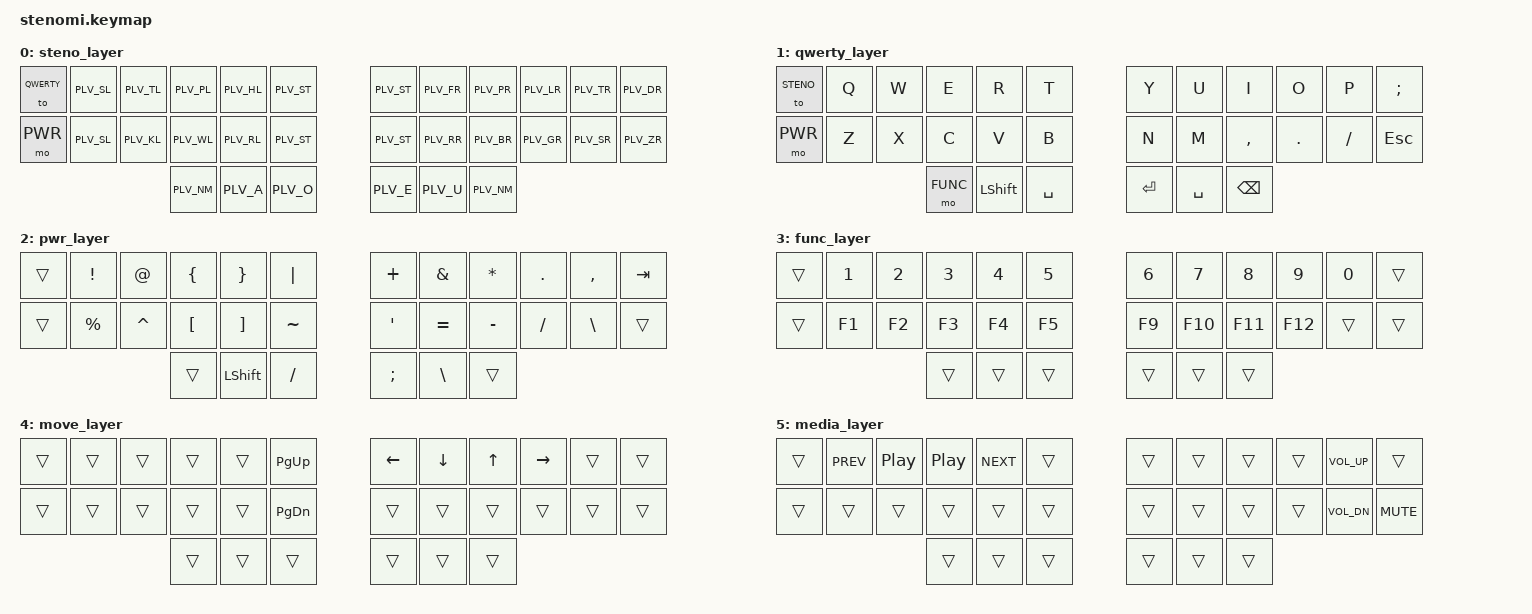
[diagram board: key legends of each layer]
/*
 * Copyright (c) 2020 The ZMK Contributors
 * SPDX-License-Identifier: MIT
 * 
 * Converted from QMK Georgi layout to ZMK
 * This layout replicates the chord-based behavior using combos
 */

#include <behaviors.dtsi>
#include <dt-bindings/zmk/keys.h>
#include <dt-bindings/zmk/bt.h>
#include <dt-bindings/zmk/outputs.h>

#define STENO 0
#define QWERTY 1
#define PWR 2
#define FUNC 3
#define MOVE 4
#define MEDIA 5

/ {
    behaviors {
        // Hold-tap for modifier keys
        hm: homerow_mods {
            compatible = "zmk,behavior-hold-tap";
            label = "HOMEROW_MODS";
            #binding-cells = <2>;
            tapping-term-ms = <200>;
            quick-tap-ms = <0>;
            flavor = "tap-preferred";
            bindings = <&kp>, <&kp>;
        };
    };

    keymap {
        compatible = "zmk,keymap";

        // Layer 0: Steno (Plover)
        steno_layer {
            bindings = <
                &to QWERTY  &kp PLV_SL  &kp PLV_TL  &kp PLV_PL  &kp PLV_HL  &kp PLV_ST    &kp PLV_ST  &kp PLV_FR  &kp PLV_PR  &kp PLV_LR  &kp PLV_TR  &kp PLV_DR
                &mo PWR     &kp PLV_SL  &kp PLV_KL  &kp PLV_WL  &kp PLV_RL  &kp PLV_ST    &kp PLV_ST  &kp PLV_RR  &kp PLV_BR  &kp PLV_GR  &kp PLV_SR  &kp PLV_ZR
                                                    &kp PLV_NM  &kp PLV_A   &kp PLV_O     &kp PLV_E   &kp PLV_U   &kp PLV_NM
            >;
        };

        // Layer 1: QWERTY Base
        qwerty_layer {
            bindings = <
                &to STENO  &kp Q  &kp W  &kp E  &kp R  &kp T      &kp Y  &kp U     &kp I      &kp O    &kp P     &kp SEMI
                &mo PWR    &kp Z  &kp X  &kp C  &kp V  &kp B      &kp N  &kp M     &kp COMMA  &kp DOT  &kp FSLH  &kp ESC
                                         &mo FUNC &kp LSHIFT  &kp SPACE    &kp ENTER  &kp SPACE  &kp BSPC
            >;
        };

        // Layer 2: PWR (Symbol Layer - activated by holding PWR key)
        pwr_layer {
            bindings = <
                &trans  &kp EXCL   &kp AT     &kp LBRC  &kp RBRC  &kp PIPE     &kp PLUS   &kp AMPS   &kp STAR   &kp DOT   &kp COMMA  &kp TAB
                &trans  &kp PRCNT  &kp CARET  &kp LBKT  &kp RBKT  &kp TILDE    &kp SQT    &kp EQUAL  &kp MINUS  &kp FSLH  &kp BSLH   &trans
                                              &trans    &kp LSHIFT  &kp FSLH   &kp SEMI   &kp BSLH   &trans
            >;
        };

        // Layer 3: Function Layer (accessed via thumb combo)
        func_layer {
            bindings = <
                &trans  &kp N1  &kp N2   &kp N3   &kp N4   &kp N5      &kp N6   &kp N7   &kp N8   &kp N9   &kp N0  &trans
                &trans  &kp F1  &kp F2   &kp F3   &kp F4   &kp F5      &kp F9   &kp F10  &kp F11  &kp F12  &trans  &trans
                                         &trans   &trans   &trans      &trans   &trans   &trans
            >;
        };

        // Layer 4: Movement Layer
        move_layer {
            bindings = <
                &trans  &trans  &trans  &trans  &trans  &kp PG_UP    &kp LEFT  &kp DOWN  &kp UP  &kp RIGHT  &trans  &trans
                &trans  &trans  &trans  &trans  &trans  &kp PG_DN    &trans    &trans    &trans  &trans     &trans  &trans
                                        &trans  &trans  &trans       &trans    &trans    &trans
            >;
        };

        // Layer 5: Media Layer
        media_layer {
            bindings = <
                &trans  &kp C_PREV  &kp C_PP  &kp C_PP  &kp C_NEXT  &trans    &trans  &trans  &trans  &trans  &kp C_VOL_UP  &trans
                &trans  &trans      &trans    &trans    &trans      &trans    &trans  &trans  &trans  &trans  &kp C_VOL_DN  &kp C_MUTE
                                              &trans    &trans      &trans    &trans  &trans  &trans
            >;
        };
    };

    combos {
        compatible = "zmk,combos";

        // === THUMB COMBOS (QWERTY layer) ===
        
        // LA + LO = LALT
        combo_lalt {
            timeout-ms = <50>;
            layers = <QWERTY>;
            key-positions = <25 26>;
            bindings = <&kp LALT>;
        };

        // LO + RE = LCTRL
        combo_lctrl {
            timeout-ms = <50>;
            layers = <QWERTY>;
            key-positions = <26 27>;
            bindings = <&kp LCTRL>;
        };

        // LA + LO + RE + RU = CAPS
        combo_caps {
            timeout-ms = <50>;
            layers = <QWERTY>;
            key-positions = <25 26 27 28>;
            bindings = <&kp CAPS>;
        };

        // LA + RU = ESC
        combo_esc {
            timeout-ms = <50>;
            layers = <QWERTY>;
            key-positions = <25 28>;
            bindings = <&kp ESC>;
        };

        // RE + RU = BSPC
        combo_bspc {
            timeout-ms = <50>;
            layers = <QWERTY>;
            key-positions = <27 28>;
            bindings = <&kp BSPC>;
        };

        // RU + RNO = TAB
        combo_tab {
            timeout-ms = <50>;
            layers = <QWERTY>;
            key-positions = <28 29>;
            bindings = <&kp TAB>;
        };

        // === LETTER COMBOS ===

        // Two-key letter combinations
        combo_a {
            timeout-ms = <50>;
            layers = <QWERTY>;
            key-positions = <1 13>;
            bindings = <&kp A>;
        };

        combo_s {
            timeout-ms = <50>;
            layers = <QWERTY>;
            key-positions = <2 14>;
            bindings = <&kp S>;
        };

        combo_d {
            timeout-ms = <50>;
            layers = <QWERTY>;
            key-positions = <3 15>;
            bindings = <&kp D>;
        };

        combo_f {
            timeout-ms = <50>;
            layers = <QWERTY>;
            key-positions = <4 16>;
            bindings = <&kp F>;
        };

        combo_g {
            timeout-ms = <50>;
            layers = <QWERTY>;
            key-positions = <5 17>;
            bindings = <&kp G>;
        };

        combo_h {
            timeout-ms = <50>;
            layers = <QWERTY>;
            key-positions = <6 18>;
            bindings = <&kp H>;
        };

        combo_j {
            timeout-ms = <50>;
            layers = <QWERTY>;
            key-positions = <7 19>;
            bindings = <&kp J>;
        };

        combo_k {
            timeout-ms = <50>;
            layers = <QWERTY>;
            key-positions = <8 20>;
            bindings = <&kp K>;
        };

        combo_l {
            timeout-ms = <50>;
            layers = <QWERTY>;
            key-positions = <9 21>;
            bindings = <&kp L>;
        };

        // === PWR LAYER SYMBOL COMBOS ===

        // PWR + LP + LW = ( 
        combo_lparen {
            timeout-ms = <50>;
            layers = <PWR>;
            key-positions = <3 15>;
            bindings = <&kp LPAR>;
        };

        // PWR + LH + LR = )
        combo_rparen {
            timeout-ms = <50>;
            layers = <PWR>;
            key-positions = <4 16>;
            bindings = <&kp RPAR>;
        };

        // PWR + ST1 + ST2 = `
        combo_grave {
            timeout-ms = <50>;
            layers = <PWR>;
            key-positions = <5 17>;
            bindings = <&kp GRAVE>;
        };

        // PWR + LSU + LSD = #
        combo_hash {
            timeout-ms = <50>;
            layers = <PWR>;
            key-positions = <1 13>;
            bindings = <&kp HASH>;
        };

        // PWR + LFT + LK = $
        combo_dollar {
            timeout-ms = <50>;
            layers = <PWR>;
            key-positions = <2 14>;
            bindings = <&kp DLLR>;
        };

        // PWR + ST3 + ST4 = "
        combo_dqt {
            timeout-ms = <50>;
            layers = <PWR>;
            key-positions = <6 18>;
            bindings = <&kp DQT>;
        };

        // === NUMBER ROW COMBOS (LNO + key) ===
        
        combo_num1 {
            timeout-ms = <50>;
            layers = <QWERTY>;
            key-positions = <24 1>;
            bindings = <&kp N1>;
        };

        combo_num2 {
            timeout-ms = <50>;
            layers = <QWERTY>;
            key-positions = <24 2>;
            bindings = <&kp N2>;
        };

        combo_num3 {
            timeout-ms = <50>;
            layers = <QWERTY>;
            key-positions = <24 3>;
            bindings = <&kp N3>;
        };

        combo_num4 {
            timeout-ms = <50>;
            layers = <QWERTY>;
            key-positions = <24 4>;
            bindings = <&kp N4>;
        };

        combo_num5 {
            timeout-ms = <50>;
            layers = <QWERTY>;
            key-positions = <24 5>;
            bindings = <&kp N5>;
        };

        combo_num6 {
            timeout-ms = <50>;
            layers = <QWERTY>;
            key-positions = <24 6>;
            bindings = <&kp N6>;
        };

        combo_num7 {
            timeout-ms = <50>;
            layers = <QWERTY>;
            key-positions = <24 7>;
            bindings = <&kp N7>;
        };

        combo_num8 {
            timeout-ms = <50>;
            layers = <QWERTY>;
            key-positions = <24 8>;
            bindings = <&kp N8>;
        };

        combo_num9 {
            timeout-ms = <50>;
            layers = <QWERTY>;
            key-positions = <24 9>;
            bindings = <&kp N9>;
        };

        combo_num0 {
            timeout-ms = <50>;
            layers = <QWERTY>;
            key-positions = <24 10>;
            bindings = <&kp N0>;
        };

        // === FUNCTION LAYER ACTIVATION ===
        // LSD + LK + LP + LH = Function Layer (momentary)
        combo_func_layer {
            timeout-ms = <50>;
            layers = <QWERTY>;
            key-positions = <13 14 15 16>;
            bindings = <&mo FUNC>;
        };

        // === MOVEMENT LAYER ACTIVATION ===
        // ST1 + ST2 = Movement Layer (momentary)
        combo_move_layer {
            timeout-ms = <50>;
            layers = <QWERTY>;
            key-positions = <5 17>;
            bindings = <&mo MOVE>;
        };

        // === MEDIA LAYER ACTIVATION ===
        // LSD + LK + LW + LR = Media Layer (momentary)
        combo_media_layer {
            timeout-ms = <50>;
            layers = <QWERTY>;
            key-positions = <13 14 15 16>;
            bindings = <&mo MEDIA>;
        };

        // === MODIFIER COMBOS ===

        // RT + RD + RS + RZ = LGUI (Windows/Command key)
        combo_lgui {
            timeout-ms = <50>;
            layers = <QWERTY>;
            key-positions = <10 11 21 22>;
            bindings = <&kp LGUI>;
        };

        // RT + RD = LCTRL
        combo_lctrl_right {
            timeout-ms = <50>;
            layers = <QWERTY>;
            key-positions = <10 11>;
            bindings = <&kp LCTRL>;
        };

        // RS + RZ = LALT
        combo_lalt_right {
            timeout-ms = <50>;
            layers = <QWERTY>;
            key-positions = <21 22>;
            bindings = <&kp LALT>;
        };

        // === BLUETOOTH COMBOS ===
        
        combo_bt_clear {
            timeout-ms = <50>;
            layers = <QWERTY>;
            key-positions = <0 11>;
            bindings = <&bt BT_CLR>;
        };

        combo_output_toggle {
            timeout-ms = <50>;
            layers = <QWERTY>;
            key-positions = <1 10>;
            bindings = <&out OUT_TOG>;
        };

        // === MOUSE KEY COMBOS ===
        
        // LO + LSD + LK = Right Click (simulated with combo)
        combo_right_click {
            timeout-ms = <50>;
            layers = <QWERTY>;
            key-positions = <26 13 14>;
            bindings = <&kp K_CONTEXT_MENU>;
        };

        // === PWR ARROW COMBOS ===
        
        // PWR + RF + RR = LEFT
        combo_pwr_left {
            timeout-ms = <50>;
            layers = <PWR>;
            key-positions = <7 19>;
            bindings = <&kp LEFT>;
        };

        // PWR + RP + RB = DOWN
        combo_pwr_down {
            timeout-ms = <50>;
            layers = <PWR>;
            key-positions = <8 20>;
            bindings = <&kp DOWN>;
        };

        // PWR + RL + RG = UP
        combo_pwr_up {
            timeout-ms = <50>;
            layers = <PWR>;
            key-positions = <9 21>;
            bindings = <&kp UP>;
        };

        // PWR + RT + RS = RIGHT
        combo_pwr_right {
            timeout-ms = <50>;
            layers = <PWR>;
            key-positions = <10 22>;
            bindings = <&kp RIGHT>;
        };
    };
};
